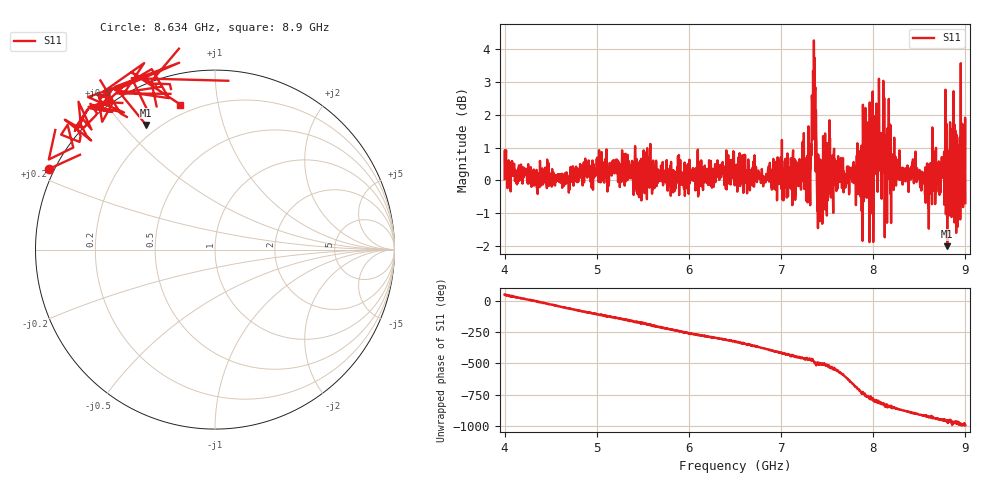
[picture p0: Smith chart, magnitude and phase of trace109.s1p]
! Created with skrf 1.8.0 (http://scikit-rf.org).
# Hz S RI R 50.0
!freq ReS11 ImS11
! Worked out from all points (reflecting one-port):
!   1601 points, 4 GHz to 9 GHz, reference 50 ohm
!   lowest |S11| = -2.0 dB at 8.803 GHz (marker M1), VSWR 8.66, Z = 7.75 + j29 ohm
!   phase of S11 starts at 54 deg and turns -1050 deg over the sweep
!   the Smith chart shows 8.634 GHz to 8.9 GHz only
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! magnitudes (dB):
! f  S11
! 4 GHz  0.0
! 4.625 GHz  -0.2
! 5.25 GHz  -0.2
! 5.875 GHz  0.4
! 6.5 GHz  0.3
! 7.125 GHz  0.4
! 7.297 GHz  1.6
! 7.359 GHz  2.9
! 7.4 GHz  -1.5
! 7.425 GHz  0.6
! 7.509 GHz  -0.5
! 7.75 GHz  0.2
! 7.859 GHz  0.9
! 7.928 GHz  0.7
! 7.981 GHz  -0.5
! 8.009 GHz  2.0
! 8.022 GHz  1.2
! 8.047 GHz  -0.4
! 8.066 GHz  1.3
! 8.134 GHz  0.3
! 8.216 GHz  0.5
! 8.375 GHz  0.2
! 8.594 GHz  -0.1
! 8.631 GHz  -0.3
! 8.803 GHz  -2.0
! 8.919 GHz  -0.8
! 8.972 GHz  0.2
! 9 GHz  -0.7
